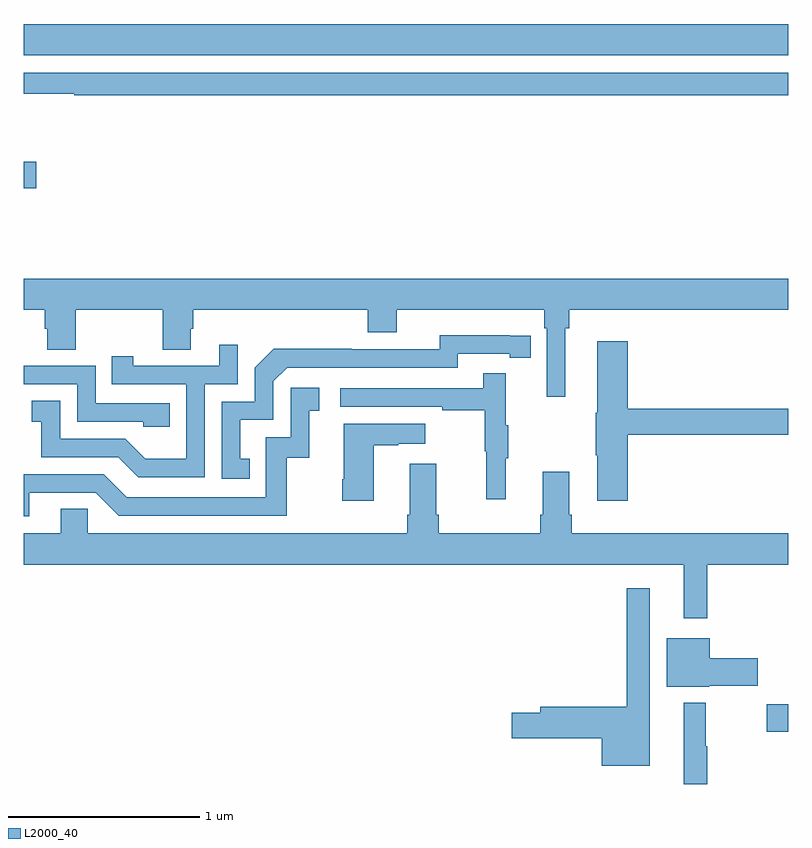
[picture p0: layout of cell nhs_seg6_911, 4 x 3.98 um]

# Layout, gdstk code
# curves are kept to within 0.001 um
import gdstk
lib = gdstk.Library(unit=1e-6, precision=1e-09)
def R(c, l, rs):  # rectangles x0, y0, x1, y1
    for r in rs: c.add(gdstk.rectangle(r[:2], r[2:], *l))
def P(c, l, *ps):  # polygons
    for p in ps: c.add(gdstk.Polygon(p, *l))
L2000_40 = (2000, 40)

nhs_seg6_911 = lib.new_cell('nhs_seg6_911')
R(nhs_seg6_911, L2000_40, [(170.886,967.774,171,967.916), (167,970.618,167.065,970.755), (167,971.312,171,971.476)])
P(nhs_seg6_911, L2000_40, [(171,971.22),(167,971.22),(167,971.112),(167.264,971.112),(167.264,971.104),(171,971.104)],
  [(169.834,969.884),(169.853,969.884),(169.853,969.98),(171,969.98),(171,970.144),(167,970.144),(167,969.98),(167.111,969.98),(167.111,969.882),(167.123,969.882),(167.123,969.772),(167.271,969.772),(167.271,969.98),(167.728,969.98),(167.728,969.772),(167.875,969.772),(167.875,969.882),(167.888,969.882),(167.888,969.98),(168.8,969.98),(168.8,969.863),(168.952,969.863),(168.952,969.98),(169.724,969.98),(169.724,969.884),(169.737,969.884),(169.737,969.525),(169.834,969.525)],
  [(168.182,969.201),(168.133,969.201),(168.133,969.405),(168.306,969.405),(168.306,969.606),(168.378,969.678),(169.272,969.678),(169.272,969.75),(169.544,969.75),(169.544,969.73),(169.652,969.73),(169.652,969.846),(169.176,969.847),(169.176,969.774),(168.716,969.774),(168.716,969.776),(168.308,969.776),(168.21,969.678),(168.21,969.501),(168.036,969.501),(168.036,969.096),(168.182,969.096)],
  [(170.159,969.328),(171,969.328),(171,969.464),(170.159,969.464),(170.159,969.817),(170,969.817),(170,969.441),(169.993,969.441),(169.993,969.22),(170,969.22),(170,968.982),(170.159,968.982)],
  [(167.946,969.591),(168.12,969.591),(168.12,969.799),(168.023,969.799),(168.023,969.687),(167.572,969.687),(167.572,969.739),(167.461,969.739),(167.461,969.591),(167.85,969.591),(167.85,969.202),(167.636,969.202),(167.532,969.306),(167.19,969.306),(167.19,969.505),(167.043,969.505),(167.043,969.395),(167.092,969.395),(167.092,969.21),(167.495,969.21),(167.6,969.105),(167.946,969.105)],
  [(167.765,969.492),(167.376,969.492),(167.376,969.687),(167,969.687),(167,969.591),(167.28,969.591),(167.28,969.396),(167.625,969.396),(167.625,969.369),(167.765,969.369)],
  [(169.523,969.203),(169.534,969.203),(169.534,969.377),(169.523,969.377),(169.523,969.649),(169.405,969.649),(169.405,969.57),(168.657,969.57),(168.657,969.474),(169.189,969.474),(169.189,969.454),(169.413,969.454),(169.413,969.24),(169.42,969.24),(169.42,968.991),(169.523,968.991)],
  [(167.029,969.024),(167.376,969.024),(167.496,968.904),(168.376,968.904),(168.376,969.207),(168.494,969.207),(168.494,969.453),(168.547,969.453),(168.547,969.574),(168.396,969.574),(168.396,969.315),(168.267,969.315),(168.267,969),(167.538,969),(167.418,969.12),(167,969.12),(167,968.901),(167.029,968.901)],
  [(168.832,969.271),(168.959,969.271),(168.959,969.281),(169.102,969.281),(169.102,969.385),(168.674,969.385),(168.674,969.094),(168.667,969.094),(168.667,968.982),(168.832,968.982)],
  [(170.575,968.648),(171,968.648),(171,968.812),(169.868,968.812),(169.868,968.908),(169.855,968.908),(169.855,969.133),(169.715,969.133),(169.715,968.908),(169.703,968.908),(169.703,968.812),(169.172,968.812),(169.172,968.908),(169.159,968.908),(169.159,969.175),(169.019,969.175),(169.019,968.908),(169.007,968.908),(169.007,968.812),(167.334,968.812),(167.334,968.939),(167.195,968.939),(167.195,968.812),(167,968.812),(167,968.648),(170.453,968.648),(170.453,968.367),(170.575,968.367)],
  [(170.275,968.524),(170.154,968.524),(170.154,967.904),(169.703,967.904),(169.703,967.874),(169.554,967.874),(169.554,967.739),(170.024,967.739),(170.024,967.595),(170.275,967.595)],
  [(170.586,968.015),(170.839,968.015),(170.839,968.157),(170.59,968.157),(170.59,968.263),(170.363,968.263),(170.363,968.009),(170.586,968.009)],
  [(170.575,967.697),(170.567,967.697),(170.567,967.924),(170.453,967.924),(170.453,967.5),(170.575,967.5)])

lib.write_gds('nhs_seg6_911.gds')
